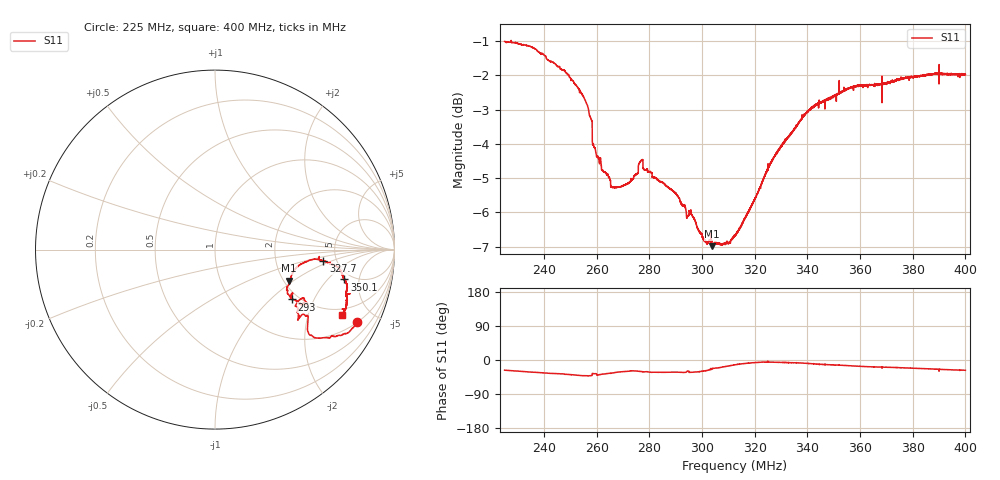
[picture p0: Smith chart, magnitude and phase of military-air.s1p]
! Calibrated averaged scanner-service zoom
# Hz S RI R 50
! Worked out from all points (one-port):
!   10001 points, 225 MHz to 400 MHz, reference 50 ohm
!   lowest |S11| = -7.0 dB at 303.8 MHz (marker M1), VSWR 2.62, Z = 107 - j46.1 ohm
!   |S11| at or under -10 dB: nowhere
!   S11 on the Smith chart (normalised r, x): 225 MHz: 1.01, -3.93; 293 MHz: 1.83, -1.38; 327.7 MHz: 3.92, -0.78; 350.1 MHz: 4.29, -3.16; 400 MHz: 1.68, -3.35
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2.25e8  0.7938 -0.403
2.35535e8  0.7389 -0.4645
2.46875e8  0.6513 -0.4809
2.528425e8  0.5801 -0.4937
2.560275e8  0.5415 -0.4812
2.57375e8  0.5187 -0.458
2.591425e8  0.5035 -0.3678
2.608925e8  0.4644 -0.3715
2.66125e8  0.4519 -0.3054
2.6875e8  0.4656 -0.285
2.736675e8  0.4918 -0.2685
2.76625e8  0.5143 -0.2995
2.8149e8  0.4766 -0.3009
2.90625e8  0.4483 -0.2833
2.9304e8  0.4297 -0.2777
2.94125e8  0.4216 -0.2562
2.961725e8  0.4193 -0.2653
3.008975e8  0.3995 -0.22
3.03785e8  0.4127 -0.1726
3.125e8  0.4528 -0.1015
3.21705e8  0.5387 -0.0562
3.276725e8  0.6032 -0.0625
3.34375e8  0.652 -0.0826
3.41165e8  0.6994 -0.1168
3.50125e8  0.7212 -0.1664
3.5625e8  0.7349 -0.2008
3.78125e8  0.7352 -0.2852
4e8  0.709 -0.3637
